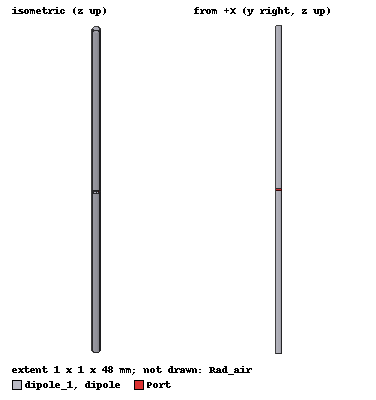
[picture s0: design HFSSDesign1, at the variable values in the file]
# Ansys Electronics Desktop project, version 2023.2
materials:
  vacuum: permittivity=1
  pec: conductivity=1e+30
  air: permittivity=1.0006 permeability=1.0000004

design HFSSDesign1 (HFSS, HFSS Modal Network, model units mm)
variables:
  lambda = 100mm
  length = 0.48*lambda
  gap = 0.24mm
  dip_length = length/2-gap/2
  dip_radius = lambda/200
  rad_radius = dip_radius+lambda/4
  rad_height = dip_length+gap/2+lambda/10
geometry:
  dipole [pec] = cylinder(axis=Z, base_centre=(0mm, 0mm, gap/2), radius=dip_radius, height=dip_length)
  dipole_1 [pec] = dipole.duplicate_around_axis(axis=X, angle=180deg, total=2)
  Port = rectangle(corner=(0mm, -dip_radius, -gap/2), y_size=2*dip_radius, z_size=gap)
  Rad_air [air] = cylinder(axis=Z, base_centre=(0mm, 0mm, -rad_height), radius=rad_radius, height=2*rad_height)
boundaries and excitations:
  Rad1: Radiation Objects=Rad_air
  1: Lumped Port Objects=Port LumpedPortType=Modal Modes{Mode1{IntLine{(0, 0, -0.12) -> (0, 0, 0.12)} CharImp=Zpi RenormImp=73.2ohm}} Impedance=73.2ohm
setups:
  Setup1: HfssDriven Frequency=3GHz MaxDeltaS=0.02 MaximumPasses=20 MinimumPasses=1 MinimumConvergedPasses=1 PercentRefinement=30 BasisOrder=1 PortAccuracy=2 DrivenSolverType="Direct Solver"
    sweep Sweep: 2.5GHz to 3.5GHz step 0.001GHz; Type=Interpolating InterpTolerance=0.5 InterpMaxSolns=250 InterpUsePortImped=false PassivityErrorTolerance=0.0001
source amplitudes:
  1:1: 1W 0deg
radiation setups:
  E_Plane: Infinite Sphere Theta=-180deg..180deg step 1deg Phi=0deg..0deg step 0deg
  3D_Phere: Infinite Sphere Theta=0deg..180deg step 1deg Phi=0deg..360deg step 1deg
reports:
  S Parameter Plot 1: dB(S(1,1)) vs Freq on Setup1 : Sweep
  Z Parameter Plot 1: re(Z(1,1)), im(Z(1,1)) vs Freq on Setup1 : Sweep
  VSWR Plot 1: VSWR(1) vs Freq on Setup1 : Sweep
  S Parameter Chart 1: S(1,1) on Setup1 : Sweep [Freq=all]
  Gain Plot 1: dB(GainTotal) vs Theta on Setup1 : LastAdaptive, E_Plane [Phi=all Freq=3GHz]
  Gain Plot 3: dB(GainTotal) vs Phi, Theta on Setup1 : LastAdaptive, 3D_Phere [Freq=3GHz]
